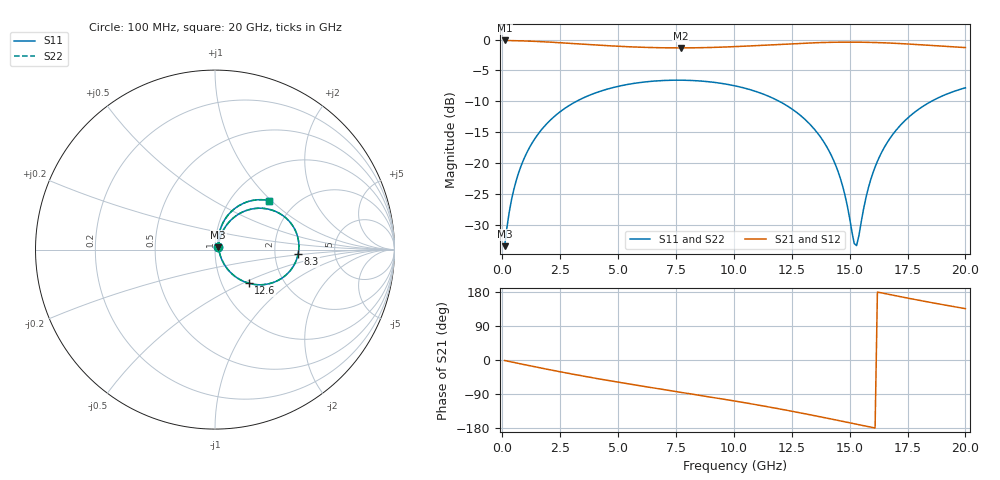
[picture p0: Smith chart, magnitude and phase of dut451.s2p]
! Touchstone file exported from HFSS 2026.1.0
!  File:  C:/ffzhzh/LocalFiles/Ansys_Project_Files/temp_train_TSV_RDL_451_1783099997_53076.aedt
!  Generated:  01:44:36 AM Jul  4, 2026
!  Design:  TSV_RDL
!  Project:  temp_train_TSV_RDL_451_1783099997_53076
! Variables:
!  h_bsmrdl = 4.16um
!  h_ox = 20um
!  h_rdl = 5um
!  h_sub = 88.23um
!  h_tmrdl = 4.53um
!  h_tsv = 88.23um
!  h_via = 3um
!  l_bsmrdl = 179.29um
!  l_sub = 3527.42um
!  l_tmrdl = 615.13um
!  m_sub = 200um
!  pitch = 39.45um
!  r_tsv = 6.4um
!  s_tmrdl = 10um
!  w_bsmrdl = 28.57um
!  w_sub = 500um
!  w_tmrdl = 14.44um
!  x_tsv_center1 = 622.35um
!  x_tsv_center2 = 830.21um
!  x_tsv_center3 = 1459.78um
!  x_tsv_center4 = 1667.64um
!  x_tsv_center5 = 2297.21um
!  x_tsv_center6 = 2505.07um
# GHz S MA R 50.000000
! Terminal data exported
! Port[1] = TM_RDL1_1_T1
! Port[2] = TM_RDL5_1_T1
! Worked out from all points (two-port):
!   200 points, 100 MHz to 20 GHz, reference 50 ohm
!   highest |S21| = -0.15 dB at 100 MHz (marker M1); lowest = -1.4 dB at 7.7 GHz (marker M2)
!   |S21| within 3 dB of the highest: start of sweep to end of sweep
!   lowest |S11| = -33.5 dB at 100 MHz (marker M3), VSWR 1.04, Z = 51.8 + j1.23 ohm
!   |S11| at or under -10 dB: start of sweep to 3.213 GHz; 11.95 GHz to 18.54 GHz (6.592 GHz wide, 43.2 % of centre)
!   |S22| runs from -33.5 to -6.6 dB; largest |S21 - S12| = 1.8e-14
!   S11 on the Smith chart (normalised r, x): 100 MHz: 1.04, +0.02; 8.3 GHz: 2.72, -0.16; 12.6 GHz: 1.34, -0.54; 20 GHz: 1.48, +0.97
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0.1  0.0211 34.2  0.9828 -1.3  0.9828 -1.3  0.0211 34.2
! Gamma 0 0 0 0
! Port Impedance 50 0 50 0
0.3  0.03988 58.8  0.981 -3.9  0.981 -3.9  0.03988 58.8
0.5  0.06098 65.4  0.9791 -6.5  0.9791 -6.5  0.06098 65.4
1.1  0.1252 66.5  0.9716 -14.1  0.9716 -14.1  0.1252 66.5
2.1  0.2244 57.8  0.9518 -26.4  0.9518 -26.4  0.2244 57.8
3.5  0.3363 43.3  0.9164 -42.5  0.9164 -42.5  0.3363 43.3
5  0.4169 28.2  0.8819 -58.4  0.8819 -58.4  0.4169 28.2
6.8  0.4636 11.0  0.858 -76.3  0.858 -76.3  0.4636 11.0
7.7  0.4681 2.7  0.8551 -85.0  0.8551 -85.0  0.4681 2.7
8.3  0.4643 -2.9  0.8567 -90.9  0.8567 -90.9  0.4643 -2.9
10.1  0.4192 -19.9  0.8766 -108.8  0.8766 -108.8  0.4192 -19.9
12.6  0.266 -44.9  0.926 -136.3  0.926 -136.3  0.2659 -44.9
13.4  0.1949 -52.5  0.9399 -145.8  0.9399 -145.8  0.1949 -52.5
14  0.1362 -56.9  0.9476 -153.2  0.9476 -153.2  0.1362 -56.9
14.5  0.08511 -57.6  0.9515 -159.4  0.9515 -159.4  0.08508 -57.6
14.8  0.05459 -52.9  0.9526 -163.2  0.9526 -163.2  0.05455 -52.9
15.2  0.02216 -9.0  0.9525 -168.2  0.9525 -168.2  0.02209 -9.0
15.3  0.02134 18.6  0.9522 -169.5  0.9522 -169.5  0.02127 18.7
15.9  0.07186 74.1  0.9481 -177.0  0.9481 -177.0  0.07185 74.1
16.7  0.1538 73.6  0.9369 173.1  0.9369 173.1  0.1538 73.6
18.1  0.2819 61.0  0.9063 156.4  0.9063 156.4  0.2819 61.0
20  0.4061 42.3  0.8602 135.6  0.8602 135.6  0.4061 42.3
